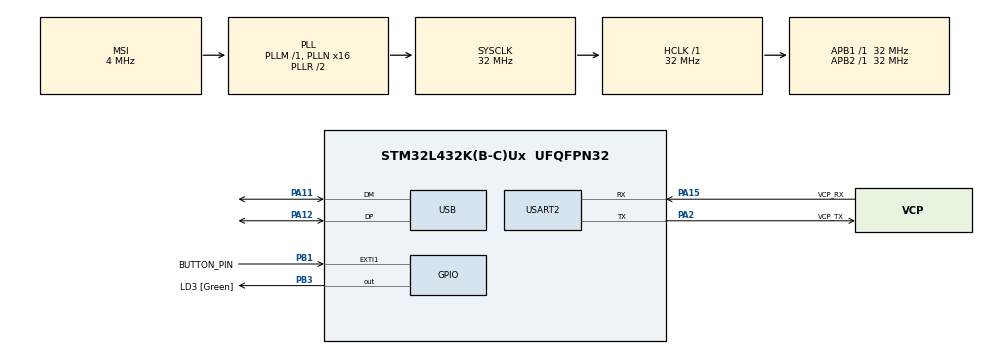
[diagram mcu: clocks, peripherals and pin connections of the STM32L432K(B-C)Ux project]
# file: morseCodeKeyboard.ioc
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Mcu.Family=STM32L4
Mcu.Name=STM32L432K(B-C)Ux
Mcu.Package=UFQFPN32
NVIC.EXTI1_IRQn=true\:0\:0\:false\:false\:true\:true\:true\:true
NVIC.PriorityGroup=NVIC_PRIORITYGROUP_4
NVIC.TIM1_UP_TIM16_IRQn=true\:0\:0\:false\:false\:true\:true\:true\:true
NVIC.USB_IRQn=true\:0\:0\:false\:false\:true\:false\:true\:true
PA0.GPIO_Label=MCO [High speed clock in]
PA0.Mode=HSE-External-Clock-Source-for-LittleOrca
PA0.Signal=RCC_CK_IN
PA11.Mode=Device
PA11.Signal=USB_DM
PA12.Mode=Device
PA12.Signal=USB_DP
PA13\ (JTMS-SWDIO).GPIO_Label=SWDIO
PA13\ (JTMS-SWDIO).Mode=Serial_Wire
PA13\ (JTMS-SWDIO).Signal=SYS_JTMS-SWDIO
PA14\ (JTCK-SWCLK).GPIO_Label=SWCLK
PA14\ (JTCK-SWCLK).Mode=Serial_Wire
PA14\ (JTCK-SWCLK).Signal=SYS_JTCK-SWCLK
PA15\ (JTDI).GPIO_Label=VCP_RX
PA15\ (JTDI).Mode=Asynchronous
PA15\ (JTDI).Signal=USART2_RX
PA2.GPIO_Label=VCP_TX
PA2.Mode=Asynchronous
PA2.Signal=USART2_TX
PB1.GPIO_Label=BUTTON_PIN
PB1.GPIO_ModeDefaultEXTI=GPIO_MODE_IT_RISING_FALLING
PB1.Signal=GPXTI1
PB3\ (JTDO-TRACESWO).GPIO_Label=LD3 [Green]
PB3\ (JTDO-TRACESWO).GPIO_PuPd=GPIO_NOPULL
PB3\ (JTDO-TRACESWO).Signal=GPIO_Output
PC14-OSC32_IN\ (PC14).Mode=LSE-External-Oscillator
PC14-OSC32_IN\ (PC14).Signal=RCC_OSC32_IN
PC15-OSC32_OUT\ (PC15).Mode=LSE-External-Oscillator
PC15-OSC32_OUT\ (PC15).Signal=RCC_OSC32_OUT
ProjectManager.HeapSize=0x200
ProjectManager.StackSize=0x400
ProjectManager.TargetToolchain=STM32CubeIDE
RCC.ADCFreq_Value=48000000
RCC.AHBFreq_Value=32000000
RCC.APB1Freq_Value=32000000
RCC.APB1TimFreq_Value=32000000
RCC.APB2Freq_Value=32000000
RCC.APB2TimFreq_Value=32000000
RCC.CortexFreq_Value=32000000
RCC.HCLKFreq_Value=32000000
RCC.HSE_VALUE=8000000
RCC.HSI16_VALUE=16000000
RCC.HSI48_VALUE=48000000
RCC.HSI_VALUE=16000000
RCC.MSI_VALUE=4000000
RCC.PLLMUL=RCC_PLLMUL_4
RCC.PLLN=16
RCC.PLLSAI1N=24
RCC.SYSCLKFreq_VALUE=32000000
RCC.SYSCLKSource=RCC_SYSCLKSOURCE_PLLCLK
RCC.USBFreq_Value=48000000
RCC.VCOOutputFreq_Value=64000000
TIM1.AutoReloadPreload=TIM_AUTORELOAD_PRELOAD_ENABLE
TIM1.Period=1000-1
TIM1.Prescaler=32-1
USART2.VirtualMode-Asynchronous=VM_ASYNC
USB_DEVICE.CLASS_NAME_FS=HID
USB_DEVICE.PRODUCT_STRING_HID_FS=Single Button Keyboard
USB_DEVICE.VirtualMode=Hid
USB_DEVICE.VirtualModeFS=Hid_FS
VP_TIM1_VS_ClockSourceINT.Mode=Internal
VP_USB_DEVICE_VS_USB_DEVICE_HID_FS.Mode=HID_FS
board=NUCLEO-L432KC

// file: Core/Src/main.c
/* USER CODE BEGIN Header */
/**
  ******************************************************************************
  * @file           : main.c
  * @brief          : Main program body
  ******************************************************************************
  * @attention
  *
  * Copyright (c) 2026 STMicroelectronics.
  * All rights reserved.
  *
  * This software is licensed under terms that can be found in the LICENSE file
  * in the root directory of this software component.
  * If no LICENSE file comes with this software, it is provided AS-IS.
  *
  ******************************************************************************
  */
/* USER CODE END Header */
#include "main.h"
#include "usb_device.h"

/* USER CODE BEGIN Includes */
#include "string.h"
#include "stdio.h"
#include "usbd_hid.h"

/* USER CODE END Includes */

/* USER CODE BEGIN PTD */

typedef struct {
	const char * pattern;
	char letter;
} MorseMap;

typedef struct {
	uint8_t modifier;
	uint8_t reserved;
	uint8_t keycode1;
	uint8_t keycode2;
	uint8_t keycode3;
	uint8_t keycode4;
	uint8_t keycode5;
	uint8_t keycode6;
} KeyboardReportDes;

/* USER CODE END PTD */

TIM_HandleTypeDef htim1;

UART_HandleTypeDef huart2;

/* USER CODE BEGIN PV */

KeyboardReportDes HIDkeyboard = {0, 0, 0, 0, 0, 0, 0, 0};

extern USBD_HandleTypeDef hUsbDeviceFS;

#define BUTTON_RELEASED 0
#define BUTTON_PRESSED  1
#define MORSE_BUFFER_SIZE 8

volatile uint8_t buttonState = BUTTON_RELEASED; // 0 = released, 1 = pressed

volatile uint32_t pressTimeMs = 0;
volatile uint32_t releaseTimeMs = 0;

const uint8_t uartDebugging = 0;

const uint32_t debounceUpperThreshold = 10;
const uint32_t shortPressUpperThreshold = 200;
const uint32_t longPressUpperThreshold = 800;

const uint32_t releaseTimeLowerThreshold = 800;

volatile uint8_t morseBuffer[MORSE_BUFFER_SIZE];
volatile uint8_t morseIndex = 0;

volatile uint8_t morseReadyToDecode = 0;

const MorseMap morseTable[] = {
    {".-",   'A'},
	{"-...", 'B'},
	{"-.-.", 'C'},
	{"-..",  'D'},
    {".",    'E'},
	{"..-.", 'F'},
	{"--.",  'G'},
	{"....", 'H'},
    {"..",   'I'},
	{".---", 'J'},
	{"-.-",  'K'},
	{".-..", 'L'},
    {"--",   'M'},
	{"-.",   'N'},
	{"---",  'O'},
	{".--.", 'P'},
    {"--.-", 'Q'},
	{".-.",  'R'},
	{"...",  'S'},
	{"-",    'T'},
    {"..-",  'U'},
	{"...-", 'V'},
	{".--",  'W'},
	{"-..-", 'X'},
    {"-.--", 'Y'},
	{"--..", 'Z'}
};

/* USER CODE END PV */

void SystemClock_Config(void);
static void MX_GPIO_Init(void);
static void MX_USART2_UART_Init(void);
static void MX_TIM1_Init(void);

/* USER CODE BEGIN 0 */

void HAL_GPIO_EXTI_Callback(uint16_t gpioPin)
{
    if (gpioPin == GPIO_PIN_1)
    {
        GPIO_PinState pinState = HAL_GPIO_ReadPin(BUTTON_PIN_GPIO_Port, BUTTON_PIN_Pin);

        if (pinState == GPIO_PIN_RESET)  // pressed
        {
            // Button just pressed
        	if (releaseTimeMs >= releaseTimeLowerThreshold){
        		morseReadyToDecode = 1;
        	}
            releaseTimeMs = 0;
            buttonState = 1;

        }
        else  // released
        {
            if (pressTimeMs >= debounceUpperThreshold && pressTimeMs < shortPressUpperThreshold && morseIndex < MORSE_BUFFER_SIZE-1){
            	morseBuffer[morseIndex++] = '.';

            }
            else if (pressTimeMs >= shortPressUpperThreshold && pressTimeMs <= longPressUpperThreshold && morseIndex < MORSE_BUFFER_SIZE-1){
            	morseBuffer[morseIndex++] = '-';
            }
            pressTimeMs = 0;
            buttonState = 0;
            morseReadyToDecode = 0;
        }
    }
}

void HAL_TIM_PeriodElapsedCallback(TIM_HandleTypeDef *htim)
{
    if (htim->Instance == TIM1)
    {
        if (buttonState == BUTTON_PRESSED)
        {
            pressTimeMs++;
        }
        else
        {
            releaseTimeMs++;

        }
    }
}

char decodeMorse(const char * message){
	int tableSize = sizeof(morseTable) / sizeof(morseTable[0]);
	for (int i = 0; i < tableSize; i++){
		if (strcmp(message, morseTable[i].pattern) == 0){
			return morseTable[i].letter;
		}
	}
	return '?';
}

uint8_t charToHidKeycode(char c)
{
    if (c >= 'A' && c <= 'Z')
    {
        return 0x04 + (c - 'A');
    }

    if (c >= 'a' && c <= 'z')
    {
        return 0x04 + (c - 'a');
    }

    return 0x00;
}

void sendKeyboardChar(char c)
{
    KeyboardReportDes report = {0};

    uint8_t keycode = charToHidKeycode(c);

    if (keycode == 0x00)
    {
        return;
    }

    // Press key
    report.modifier = 0x02;      // left shift for uppercase
    report.keycode1 = keycode;

    USBD_HID_SendReport(&hUsbDeviceFS, (uint8_t *)&report, sizeof(report));
    HAL_Delay(20);

    // Release key
    memset(&report, 0, sizeof(report));

    USBD_HID_SendReport(&hUsbDeviceFS, (uint8_t *)&report, sizeof(report));
    HAL_Delay(20);
}

void testHIDkeyboard(void){
	  HIDkeyboard.modifier = 0x02; // left shift - print char in upper case
	  HIDkeyboard.keycode1 = 0x04;	// letter A
	  USBD_HID_SendReport(&hUsbDeviceFS, (uint8_t*) &HIDkeyboard, sizeof(HIDkeyboard));
	  HAL_Delay(50);
	  HIDkeyboard.modifier = 0x00;  // release key
	  HIDkeyboard.keycode1 = 0x00;	// release key
	  USBD_HID_SendReport(&hUsbDeviceFS, (uint8_t*) &HIDkeyboard, sizeof(HIDkeyboard));
	  HAL_Delay(500);
}

/* USER CODE END 0 */

int main(void)
{

  /* MCU Configuration--------------------------------------------------------*/

  /* Reset of all peripherals, Initializes the Flash interface and the Systick. */
  HAL_Init();

  /* Configure the system clock */
  SystemClock_Config();

  /* Initialize all configured peripherals */
  MX_GPIO_Init();
  MX_USART2_UART_Init();
  MX_TIM1_Init();
  MX_USB_DEVICE_Init();
  /* USER CODE BEGIN 2 */
  HAL_Delay(1000);

  char resetStr[] = "reset the board\r\n";

  HAL_UART_Transmit(&huart2, (const uint8_t*) resetStr, strlen(resetStr), HAL_MAX_DELAY);
  HAL_TIM_Base_Start_IT(&htim1);

  KeyboardReportDes HIDkeyboard = {0, 0, 0, 0, 0, 0, 0, 0};

  /* USER CODE END 2 */

  /* Infinite loop */
  /* USER CODE BEGIN WHILE */
  while (1)
  {

		if (morseReadyToDecode)
		{
			char msg[64] = {0};
			char localBuffer[MORSE_BUFFER_SIZE];

			__disable_irq();

			strcpy(localBuffer, (char *)morseBuffer);

			morseIndex = 0;
			morseBuffer[0] = '\0';
			morseReadyToDecode = 0;
			releaseTimeMs = 0;
			memset((char*) morseBuffer, 0, MORSE_BUFFER_SIZE);

			__enable_irq();

			char decodedChar = decodeMorse(localBuffer);

			if (uartDebugging){
				sprintf(msg, "Morse: %s\r\n", localBuffer);
				HAL_UART_Transmit(&huart2, (uint8_t *)msg, strlen(msg), HAL_MAX_DELAY);
			}

			sendKeyboardChar(decodedChar);
		}

    /* USER CODE END WHILE */

  }
}

void SystemClock_Config(void)
{
  RCC_OscInitTypeDef RCC_OscInitStruct = {0};
  RCC_ClkInitTypeDef RCC_ClkInitStruct = {0};

  /** Configure the main internal regulator output voltage
  */
  if (HAL_PWREx_ControlVoltageScaling(PWR_REGULATOR_VOLTAGE_SCALE1) != HAL_OK)
  {
    Error_Handler();
  }

  /** Configure LSE Drive Capability
  */
  HAL_PWR_EnableBkUpAccess();
  __HAL_RCC_LSEDRIVE_CONFIG(RCC_LSEDRIVE_LOW);

  /** Initializes the RCC Oscillators according to the specified parameters
  * in the RCC_OscInitTypeDef structure.
  */
  RCC_OscInitStruct.OscillatorType = RCC_OSCILLATORTYPE_LSE|RCC_OSCILLATORTYPE_MSI;
  RCC_OscInitStruct.LSEState = RCC_LSE_ON;
  RCC_OscInitStruct.MSIState = RCC_MSI_ON;
  RCC_OscInitStruct.MSICalibrationValue = 0;
  RCC_OscInitStruct.MSIClockRange = RCC_MSIRANGE_6;
  RCC_OscInitStruct.PLL.PLLState = RCC_PLL_ON;
  RCC_OscInitStruct.PLL.PLLSource = RCC_PLLSOURCE_MSI;
  RCC_OscInitStruct.PLL.PLLM = 1;
  RCC_OscInitStruct.PLL.PLLN = 16;
  RCC_OscInitStruct.PLL.PLLP = RCC_PLLP_DIV7;
  RCC_OscInitStruct.PLL.PLLQ = RCC_PLLQ_DIV2;
  RCC_OscInitStruct.PLL.PLLR = RCC_PLLR_DIV2;
  if (HAL_RCC_OscConfig(&RCC_OscInitStruct) != HAL_OK)
  {
    Error_Handler();
  }

  /** Initializes the CPU, AHB and APB buses clocks
  */
  RCC_ClkInitStruct.ClockType = RCC_CLOCKTYPE_HCLK|RCC_CLOCKTYPE_SYSCLK
                              |RCC_CLOCKTYPE_PCLK1|RCC_CLOCKTYPE_PCLK2;
  RCC_ClkInitStruct.SYSCLKSource = RCC_SYSCLKSOURCE_PLLCLK;
  RCC_ClkInitStruct.AHBCLKDivider = RCC_SYSCLK_DIV1;
  RCC_ClkInitStruct.APB1CLKDivider = RCC_HCLK_DIV1;
  RCC_ClkInitStruct.APB2CLKDivider = RCC_HCLK_DIV1;

  if (HAL_RCC_ClockConfig(&RCC_ClkInitStruct, FLASH_LATENCY_1) != HAL_OK)
  {
    Error_Handler();
  }

  /** Enable MSI Auto calibration
  */
  HAL_RCCEx_EnableMSIPLLMode();
}

static void MX_TIM1_Init(void)
{

  TIM_ClockConfigTypeDef sClockSourceConfig = {0};
  TIM_MasterConfigTypeDef sMasterConfig = {0};

  htim1.Instance = TIM1;
  htim1.Init.Prescaler = 32-1;
  htim1.Init.CounterMode = TIM_COUNTERMODE_UP;
  htim1.Init.Period = 1000-1;
  htim1.Init.ClockDivision = TIM_CLOCKDIVISION_DIV1;
  htim1.Init.RepetitionCounter = 0;
  htim1.Init.AutoReloadPreload = TIM_AUTORELOAD_PRELOAD_ENABLE;
  if (HAL_TIM_Base_Init(&htim1) != HAL_OK)
  {
    Error_Handler();
  }
  sClockSourceConfig.ClockSource = TIM_CLOCKSOURCE_INTERNAL;
  if (HAL_TIM_ConfigClockSource(&htim1, &sClockSourceConfig) != HAL_OK)
  {
    Error_Handler();
  }
  sMasterConfig.MasterOutputTrigger = TIM_TRGO_RESET;
  sMasterConfig.MasterOutputTrigger2 = TIM_TRGO2_RESET;
  sMasterConfig.MasterSlaveMode = TIM_MASTERSLAVEMODE_DISABLE;
  if (HAL_TIMEx_MasterConfigSynchronization(&htim1, &sMasterConfig) != HAL_OK)
  {
    Error_Handler();
  }

}

static void MX_USART2_UART_Init(void)
{

  huart2.Instance = USART2;
  huart2.Init.BaudRate = 115200;
  huart2.Init.WordLength = UART_WORDLENGTH_8B;
  huart2.Init.StopBits = UART_STOPBITS_1;
  huart2.Init.Parity = UART_PARITY_NONE;
  huart2.Init.Mode = UART_MODE_TX_RX;
  huart2.Init.HwFlowCtl = UART_HWCONTROL_NONE;
  huart2.Init.OverSampling = UART_OVERSAMPLING_16;
  huart2.Init.OneBitSampling = UART_ONE_BIT_SAMPLE_DISABLE;
  huart2.AdvancedInit.AdvFeatureInit = UART_ADVFEATURE_NO_INIT;
  if (HAL_UART_Init(&huart2) != HAL_OK)
  {
    Error_Handler();
  }

}

static void MX_GPIO_Init(void)
{
  GPIO_InitTypeDef GPIO_InitStruct = {0};

  /* GPIO Ports Clock Enable */
  __HAL_RCC_GPIOC_CLK_ENABLE();
  __HAL_RCC_GPIOA_CLK_ENABLE();
  __HAL_RCC_GPIOB_CLK_ENABLE();

  /*Configure GPIO pin Output Level */
  HAL_GPIO_WritePin(LD3_GPIO_Port, LD3_Pin, GPIO_PIN_RESET);

  /*Configure GPIO pin : BUTTON_PIN_Pin */
  GPIO_InitStruct.Pin = BUTTON_PIN_Pin;
  GPIO_InitStruct.Mode = GPIO_MODE_IT_RISING_FALLING;
  GPIO_InitStruct.Pull = GPIO_NOPULL;
  HAL_GPIO_Init(BUTTON_PIN_GPIO_Port, &GPIO_InitStruct);

  /*Configure GPIO pin : LD3_Pin */
  GPIO_InitStruct.Pin = LD3_Pin;
  GPIO_InitStruct.Mode = GPIO_MODE_OUTPUT_PP;
  GPIO_InitStruct.Pull = GPIO_NOPULL;
  GPIO_InitStruct.Speed = GPIO_SPEED_FREQ_LOW;
  HAL_GPIO_Init(LD3_GPIO_Port, &GPIO_InitStruct);

  /* EXTI interrupt init*/
  HAL_NVIC_SetPriority(EXTI1_IRQn, 0, 0);
  HAL_NVIC_EnableIRQ(EXTI1_IRQn);

}

/**
  * @brief  TUs function is executed in case of error occurrence.
  * @retval None
  */
void Error_Handler(void)
{
  __disable_irq();
  while (1)
  {
  }
}
